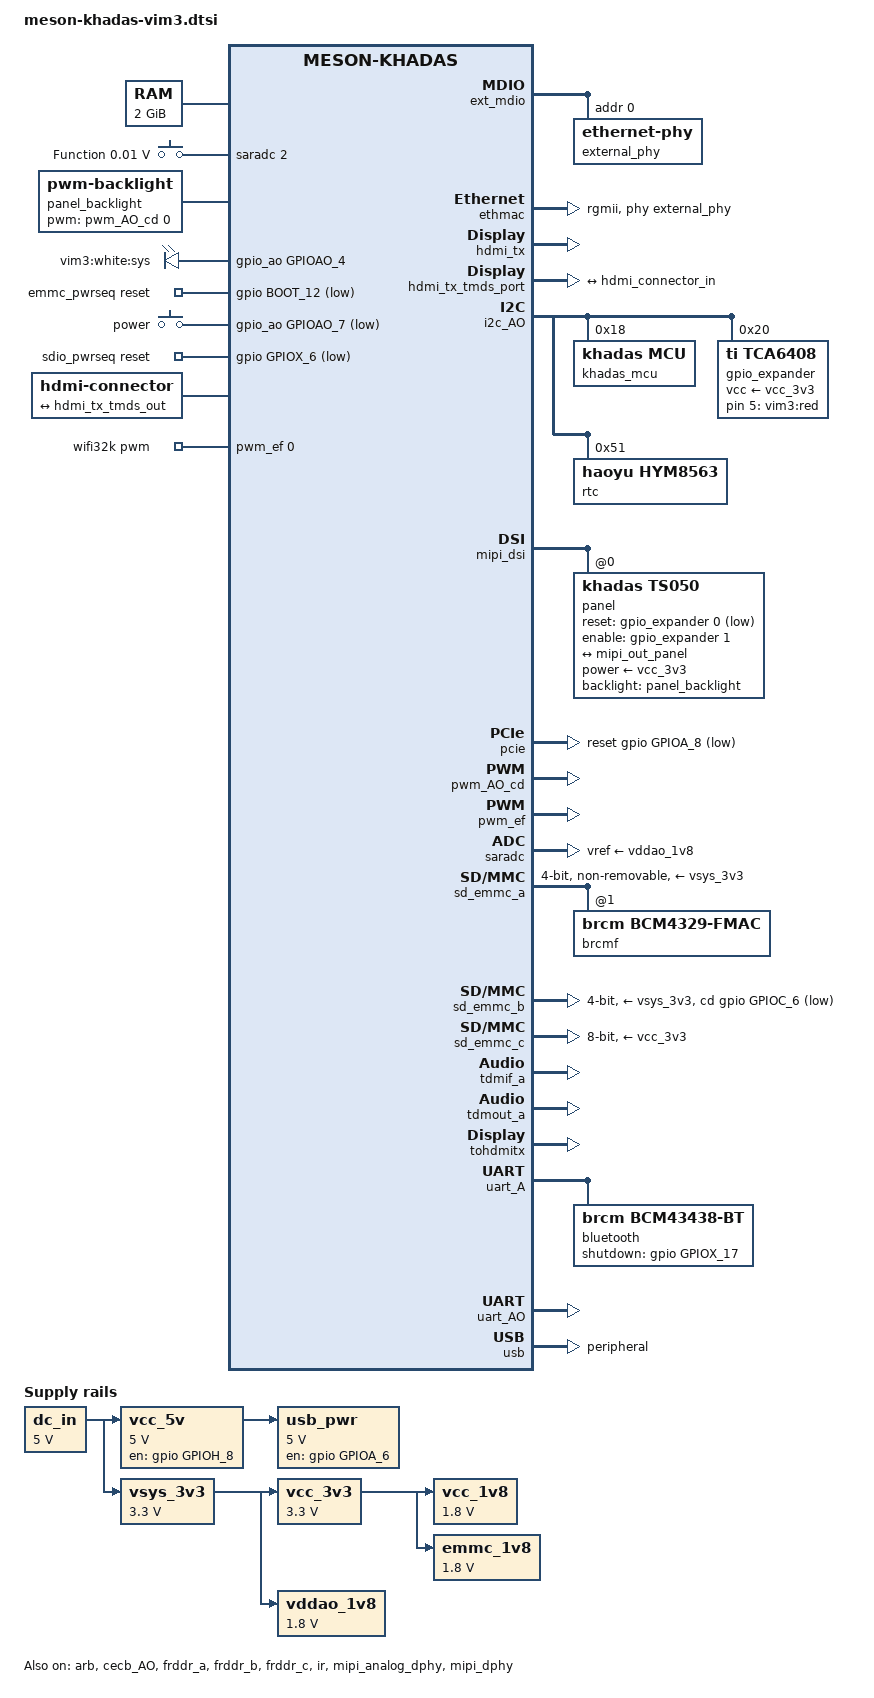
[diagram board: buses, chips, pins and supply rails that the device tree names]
// SPDX-License-Identifier: (GPL-2.0+ OR MIT)
/*
 * Copyright (c) 2019 BayLibre, SAS
 * Author: Neil Armstrong <narmstrong@baylibre.com>
 * Copyright (c) 2019 Christian Hewitt <christianshewitt@gmail.com>
 */

#include <dt-bindings/input/input.h>
#include <dt-bindings/gpio/meson-g12a-gpio.h>
#include <dt-bindings/sound/meson-g12a-tohdmitx.h>

/ {
	aliases {
		serial0 = &uart_AO;
		ethernet0 = &ethmac;
	};

	chosen {
		stdout-path = "serial0:115200n8";
	};

	memory@0 {
		device_type = "memory";
		reg = <0x0 0x0 0x0 0x80000000>;
	};

	adc-keys {
		compatible = "adc-keys";
		io-channels = <&saradc 2>;
		io-channel-names = "buttons";
		keyup-threshold-microvolt = <1710000>;

		button-function {
			label = "Function";
			linux,code = <KEY_FN>;
			press-threshold-microvolt = <10000>;
		};
	};

	panel_backlight: backlight {
		compatible = "pwm-backlight";
		pwms = <&pwm_AO_cd 0 30040 0>;
		brightness-levels = <
		      0   1   2   3   4   5   6   7
		      8   9  10  11  12  13  14  15
		     16  17  18  19  20  21  22  23
		     24  25  26  27  28  29  30  31
		     32  33  34  35  36  37  38  39
		     40  41  42  43  44  45  46  47
		     48  49  50  51  52  53  54  55
		     56  57  58  59  60  61  62  63
		     64  65  66  67  68  69  70  71
		     72  73  74  75  76  77  78  79
		     80  81  82  83  84  85  86  87
		     88  89  90  91  92  93  94  95
		     96  97  98  99 100 101 102 103
		    104 105 106 107 108 109 110 111
		    112 113 114 115 116 117 118 119
		    120 121 122 123 124 125 126 127
		    128 129 130 131 132 133 134 135
		    136 137 138 139 140 141 142 143
		    144 145 146 147 148 149 150 151
		    152 153 154 155 156 157 158 159
		    160 161 162 163 164 165 166 167
		    168 169 170 171 172 173 174 175
		    176 177 178 179 180 181 182 183
		    184 185 186 187 188 189 190 191
		    192 193 194 195 196 197 198 199
		    200 201 202 203 204 205 206 207
		    208 209 210 211 212 213 214 215
		    216 217 218 219 220 221 222 223
		    224 225 226 227 228 229 230 231
		    232 233 234 235 236 237 238 239
		    240 241 242 243 244 245 246 247
		    248 249 250 251 252 253 254 255>;
		default-brightness-level = <200>;
	};

	leds {
		compatible = "gpio-leds";

		led-white {
			label = "vim3:white:sys";
			gpios = <&gpio_ao GPIOAO_4 GPIO_ACTIVE_HIGH>;
			linux,default-trigger = "heartbeat";
		};

		led-red {
			label = "vim3:red";
			gpios = <&gpio_expander 5 GPIO_ACTIVE_HIGH>;
		};
	};

	emmc_pwrseq: emmc-pwrseq {
		compatible = "mmc-pwrseq-emmc";
		reset-gpios = <&gpio BOOT_12 GPIO_ACTIVE_LOW>;
	};

	gpio-keys-polled {
		compatible = "gpio-keys-polled";
		poll-interval = <100>;

		power-button {
			label = "power";
			linux,code = <KEY_POWER>;
			gpios = <&gpio_ao GPIOAO_7 GPIO_ACTIVE_LOW>;
		};
	};

	sdio_pwrseq: sdio-pwrseq {
		compatible = "mmc-pwrseq-simple";
		reset-gpios = <&gpio GPIOX_6 GPIO_ACTIVE_LOW>;
		clocks = <&wifi32k>;
		clock-names = "ext_clock";
	};

	dc_in: regulator-dc_in {
		compatible = "regulator-fixed";
		regulator-name = "DC_IN";
		regulator-min-microvolt = <5000000>;
		regulator-max-microvolt = <5000000>;
		regulator-always-on;
	};

	vcc_5v: regulator-vcc_5v {
		compatible = "regulator-fixed";
		regulator-name = "VCC_5V";
		regulator-min-microvolt = <5000000>;
		regulator-max-microvolt = <5000000>;
		vin-supply = <&dc_in>;

		gpio = <&gpio GPIOH_8 GPIO_OPEN_DRAIN>;
		enable-active-high;
	};

	vcc_1v8: regulator-vcc_1v8 {
		compatible = "regulator-fixed";
		regulator-name = "VCC_1V8";
		regulator-min-microvolt = <1800000>;
		regulator-max-microvolt = <1800000>;
		vin-supply = <&vcc_3v3>;
		regulator-always-on;
	};

	vcc_3v3: regulator-vcc_3v3 {
		compatible = "regulator-fixed";
		regulator-name = "VCC_3V3";
		regulator-min-microvolt = <3300000>;
		regulator-max-microvolt = <3300000>;
		vin-supply = <&vsys_3v3>;
		regulator-always-on;
		/* FIXME: actually controlled by VDDCPU_B_EN */
	};

	vddao_1v8: regulator-vddao_1v8 {
		compatible = "regulator-fixed";
		regulator-name = "VDDIO_AO1V8";
		regulator-min-microvolt = <1800000>;
		regulator-max-microvolt = <1800000>;
		vin-supply = <&vsys_3v3>;
		regulator-always-on;
	};

	emmc_1v8: regulator-emmc_1v8 {
		compatible = "regulator-fixed";
		regulator-name = "EMMC_AO1V8";
		regulator-min-microvolt = <1800000>;
		regulator-max-microvolt = <1800000>;
		vin-supply = <&vcc_3v3>;
		regulator-always-on;
	};

	vsys_3v3: regulator-vsys_3v3 {
		compatible = "regulator-fixed";
		regulator-name = "VSYS_3V3";
		regulator-min-microvolt = <3300000>;
		regulator-max-microvolt = <3300000>;
		vin-supply = <&dc_in>;
		regulator-always-on;
	};

	usb_pwr: regulator-usb_pwr {
		compatible = "regulator-fixed";
		regulator-name = "USB_PWR";
		regulator-min-microvolt = <5000000>;
		regulator-max-microvolt = <5000000>;
		vin-supply = <&vcc_5v>;

		gpio = <&gpio GPIOA_6 GPIO_ACTIVE_HIGH>;
		enable-active-high;
	};

	hdmi-connector {
		compatible = "hdmi-connector";
		type = "a";

		port {
			hdmi_connector_in: endpoint {
				remote-endpoint = <&hdmi_tx_tmds_out>;
			};
		};
	};


	sound {
		compatible = "amlogic,axg-sound-card";
		model = "G12B-KHADAS-VIM3";
		audio-aux-devs = <&tdmout_a>;
		audio-routing = "TDMOUT_A IN 0", "FRDDR_A OUT 0",
				"TDMOUT_A IN 1", "FRDDR_B OUT 0",
				"TDMOUT_A IN 2", "FRDDR_C OUT 0",
				"TDM_A Playback", "TDMOUT_A OUT";

		assigned-clocks = <&clkc CLKID_MPLL2>,
				  <&clkc CLKID_MPLL0>,
				  <&clkc CLKID_MPLL1>;
		assigned-clock-parents = <0>, <0>, <0>;
		assigned-clock-rates = <294912000>,
				       <270950400>,
				       <393216000>;
		status = "okay";

		dai-link-0 {
			sound-dai = <&frddr_a>;
		};

		dai-link-1 {
			sound-dai = <&frddr_b>;
		};

		dai-link-2 {
			sound-dai = <&frddr_c>;
		};

		/* 8ch hdmi interface */
		dai-link-3 {
			sound-dai = <&tdmif_a>;
			dai-format = "i2s";
			dai-tdm-slot-tx-mask-0 = <1 1>;
			dai-tdm-slot-tx-mask-1 = <1 1>;
			dai-tdm-slot-tx-mask-2 = <1 1>;
			dai-tdm-slot-tx-mask-3 = <1 1>;
			mclk-fs = <256>;

			codec {
				sound-dai = <&tohdmitx TOHDMITX_I2S_IN_A>;
			};
		};

		/* hdmi glue */
		dai-link-4 {
			sound-dai = <&tohdmitx TOHDMITX_I2S_OUT>;

			codec {
				sound-dai = <&hdmi_tx>;
			};
		};
	};

	wifi32k: wifi32k {
		compatible = "pwm-clock";
		#clock-cells = <0>;
		clock-frequency = <32768>;
		pwms = <&pwm_ef 0 30518 0>; /* PWM_E at 32.768KHz */
	};
};

&arb {
	status = "okay";
};

&clkc_audio {
	status = "okay";
};

&cec_AO {
	pinctrl-0 = <&cec_ao_a_h_pins>;
	pinctrl-names = "default";
	status = "disabled";
	hdmi-phandle = <&hdmi_tx>;
};

&cecb_AO {
	pinctrl-0 = <&cec_ao_b_h_pins>;
	pinctrl-names = "default";
	status = "okay";
	hdmi-phandle = <&hdmi_tx>;
};

&cpu_thermal {
	trips {
		cpu_active: cpu-active {
			temperature = <80000>; /* millicelsius */
			hysteresis = <2000>; /* millicelsius */
			type = "active";
		};
	};

	cooling-maps {
		map {
			trip = <&cpu_active>;
			cooling-device = <&khadas_mcu THERMAL_NO_LIMIT THERMAL_NO_LIMIT>;
		};
	};
};

&ext_mdio {
	external_phy: ethernet-phy@0 {
		/* Realtek RTL8211F (0x001cc916) */
		reg = <0>;
		max-speed = <1000>;

		interrupt-parent = <&gpio_intc>;
		/* MAC_INTR on GPIOZ_14 */
		interrupts = <26 IRQ_TYPE_LEVEL_LOW>;
	};
};

&ethmac {
        pinctrl-0 = <&eth_pins>, <&eth_rgmii_pins>;
        pinctrl-names = "default";
        status = "okay";
        phy-mode = "rgmii";
        phy-handle = <&external_phy>;
        amlogic,tx-delay-ns = <2>;
};

&frddr_a {
	status = "okay";
};

&frddr_b {
	status = "okay";
};

&frddr_c {
	status = "okay";
};

&hdmi_tx {
	status = "okay";
	pinctrl-0 = <&hdmitx_hpd_pins>, <&hdmitx_ddc_pins>;
	pinctrl-names = "default";
	hdmi-supply = <&vcc_5v>;
};

&hdmi_tx_tmds_port {
	hdmi_tx_tmds_out: endpoint {
		remote-endpoint = <&hdmi_connector_in>;
	};
};

&i2c_AO {
	status = "okay";
	pinctrl-0 = <&i2c_ao_sck_pins>, <&i2c_ao_sda_pins>;
	pinctrl-names = "default";

	khadas_mcu: system-controller@18 {
		compatible = "khadas,mcu";
		reg = <0x18>;
		#cooling-cells = <2>;
	};

	gpio_expander: gpio-controller@20 {
		compatible = "ti,tca6408";
		reg = <0x20>;
		vcc-supply = <&vcc_3v3>;
		gpio-controller;
		#gpio-cells = <2>;
	};

	rtc@51 {
		compatible = "haoyu,hym8563";
		reg = <0x51>;
		#clock-cells = <0>;
	};
};

&ir {
	status = "okay";
	pinctrl-0 = <&remote_input_ao_pins>;
	pinctrl-names = "default";
	linux,rc-map-name = "rc-khadas";
};

&mipi_dsi {
	status = "okay";

	panel@0 {
		compatible = "khadas,ts050";
		reset-gpios = <&gpio_expander 0 GPIO_ACTIVE_LOW>;
		enable-gpios = <&gpio_expander 1 GPIO_ACTIVE_HIGH>;
		power-supply = <&vcc_3v3>;
		backlight = <&panel_backlight>;
		width-mm = <64>;
		height-mm = <118>;
		reg = <0>;

		port {
			mipi_in_panel: endpoint {
				remote-endpoint = <&mipi_out_panel>;
			};
		};
	};
};

&mipi_analog_dphy {
	status = "okay";
};

&mipi_dphy {
	status = "okay";
};

&mipi_dsi_panel_port {
	mipi_out_panel: endpoint {
		remote-endpoint = <&mipi_in_panel>;
	};
};

&pcie {
	reset-gpios = <&gpio GPIOA_8 GPIO_ACTIVE_LOW>;
};

&pwm_AO_cd {
	status = "okay";
        pinctrl-0 = <&pwm_ao_c_6_pins>;
        pinctrl-names = "default";
};

&pwm_ef {
        status = "okay";
        pinctrl-0 = <&pwm_e_pins>;
        pinctrl-names = "default";
};

&saradc {
	status = "okay";
	vref-supply = <&vddao_1v8>;
};

/* SDIO */
&sd_emmc_a {
	status = "okay";
	pinctrl-0 = <&sdio_pins>;
	pinctrl-1 = <&sdio_clk_gate_pins>;
	pinctrl-names = "default", "clk-gate";
	#address-cells = <1>;
	#size-cells = <0>;

	bus-width = <4>;
	cap-sd-highspeed;
	max-frequency = <100000000>;

	non-removable;
	disable-wp;

	/* WiFi firmware requires power to be kept while in suspend */
	keep-power-in-suspend;

	mmc-pwrseq = <&sdio_pwrseq>;

	vmmc-supply = <&vsys_3v3>;
	vqmmc-supply = <&vddao_1v8>;

	brcmf: wifi@1 {
		reg = <1>;
		compatible = "brcm,bcm4329-fmac";
	};
};

/* SD card */
&sd_emmc_b {
	status = "okay";
	pinctrl-0 = <&sdcard_c_pins>;
	pinctrl-1 = <&sdcard_clk_gate_c_pins>;
	pinctrl-names = "default", "clk-gate";

	bus-width = <4>;
	cap-sd-highspeed;
	max-frequency = <50000000>;
	disable-wp;

	cd-gpios = <&gpio GPIOC_6 GPIO_ACTIVE_LOW>;
	vmmc-supply = <&vsys_3v3>;
	vqmmc-supply = <&vsys_3v3>;
};

/* eMMC */
&sd_emmc_c {
	status = "okay";
	pinctrl-0 = <&emmc_ctrl_pins>, <&emmc_data_8b_pins>, <&emmc_ds_pins>;
	pinctrl-1 = <&emmc_clk_gate_pins>;
	pinctrl-names = "default", "clk-gate";

	bus-width = <8>;
	cap-mmc-highspeed;
	mmc-ddr-1_8v;
	mmc-hs200-1_8v;
	max-frequency = <200000000>;
	disable-wp;

	mmc-pwrseq = <&emmc_pwrseq>;
	vmmc-supply = <&vcc_3v3>;
	vqmmc-supply = <&emmc_1v8>;
};

/*
 * EMMC_D4, EMMC_D5, EMMC_D6 and EMMC_D7 pins are shared between SPI NOR CS
 * and eMMC Data 4 to 7 pins.
 * Replace emmc_data_8b_pins to emmc_data_4b_pins from sd_emmc_c pinctrl-0,
 * and change bus-width to 4 then spifc can be enabled.
 */
&spifc {
	status = "disabled";
	pinctrl-0 = <&nor_pins>;
	pinctrl-names = "default";

	w25q128: spi-flash@0 {
		#address-cells = <1>;
		#size-cells = <1>;
		compatible = "winbond,w25q128fw", "jedec,spi-nor";
		reg = <0>;
		spi-max-frequency = <104000000>;
	};
};


&tdmif_a {
	status = "okay";
};

&tdmout_a {
	status = "okay";
};

&tohdmitx {
	status = "okay";
};

&uart_A {
	status = "okay";
	pinctrl-0 = <&uart_a_pins>, <&uart_a_cts_rts_pins>;
	pinctrl-names = "default";
	uart-has-rtscts;

	bluetooth {
		compatible = "brcm,bcm43438-bt";
		shutdown-gpios = <&gpio GPIOX_17 GPIO_ACTIVE_HIGH>;
		max-speed = <2000000>;
		clocks = <&wifi32k>;
		clock-names = "lpo";
	};
};

&uart_AO {
	status = "okay";
	pinctrl-0 = <&uart_ao_a_pins>;
	pinctrl-names = "default";
};

&usb2_phy0 {
	phy-supply = <&dc_in>;
};

&usb2_phy1 {
	phy-supply = <&usb_pwr>;
};

&usb3_pcie_phy {
	phy-supply = <&usb_pwr>;
};

&usb {
	status = "okay";
	dr_mode = "peripheral";
};
